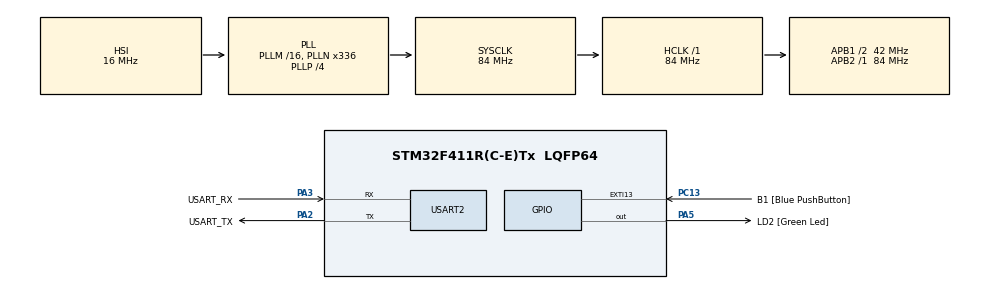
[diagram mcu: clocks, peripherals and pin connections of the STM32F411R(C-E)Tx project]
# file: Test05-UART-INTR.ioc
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Mcu.Family=STM32F4
Mcu.Name=STM32F411R(C-E)Tx
Mcu.Package=LQFP64
NVIC.EXTI15_10_IRQn=true\:0\:0\:false\:false\:true\:true\:true\:true
NVIC.PriorityGroup=NVIC_PRIORITYGROUP_0
NVIC.USART2_IRQn=true\:0\:0\:false\:false\:true\:true\:true\:true
PA13.GPIO_Label=TMS
PA13.Mode=Serial_Wire
PA13.Signal=SYS_JTMS-SWDIO
PA14.GPIO_Label=TCK
PA14.Mode=Serial_Wire
PA14.Signal=SYS_JTCK-SWCLK
PA2.GPIO_Label=USART_TX
PA2.Mode=Asynchronous
PA2.Signal=USART2_TX
PA3.GPIO_Label=USART_RX
PA3.Mode=Asynchronous
PA3.Signal=USART2_RX
PA5.GPIO_Label=LD2 [Green Led]
PA5.Signal=GPIO_Output
PB3.GPIO_Label=SWO
PB3.Signal=SYS_JTDO-SWO
PC13-ANTI_TAMP.GPIO_Label=B1 [Blue PushButton]
PC13-ANTI_TAMP.GPIO_ModeDefaultEXTI=GPIO_MODE_IT_FALLING
PC13-ANTI_TAMP.Signal=GPXTI13
PC14-OSC32_IN.Mode=LSE-External-Oscillator
PC14-OSC32_IN.Signal=RCC_OSC32_IN
PC15-OSC32_OUT.Mode=LSE-External-Oscillator
PC15-OSC32_OUT.Signal=RCC_OSC32_OUT
PH0\ -\ OSC_IN.Mode=HSE-External-Clock-Source
PH0\ -\ OSC_IN.Signal=RCC_OSC_IN
PH1\ -\ OSC_OUT.Mode=HSE-External-Clock-Source
PH1\ -\ OSC_OUT.Signal=RCC_OSC_OUT
ProjectManager.HeapSize=0x200
ProjectManager.StackSize=0x400
ProjectManager.TargetToolchain=STM32CubeIDE
RCC.48MHZClocksFreq_Value=84000000
RCC.AHBFreq_Value=84000000
RCC.APB1CLKDivider=RCC_HCLK_DIV2
RCC.APB1Freq_Value=42000000
RCC.APB1TimFreq_Value=84000000
RCC.APB2Freq_Value=84000000
RCC.APB2TimFreq_Value=84000000
RCC.CortexFreq_Value=84000000
RCC.FLatency-AdvancedSettings=FLASH_LATENCY_2
RCC.HCLKFreq_Value=84000000
RCC.HSE_VALUE=8000000
RCC.HSI_VALUE=16000000
RCC.PLLN=336
RCC.PLLP=RCC_PLLP_DIV4
RCC.SYSCLKFreq_VALUE=84000000
RCC.SYSCLKSource=RCC_SYSCLKSOURCE_PLLCLK
RCC.VCOOutputFreq_Value=336000000
USART2.VirtualMode=VM_ASYNC
board=NUCLEO-F411RE

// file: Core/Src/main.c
/* USER CODE BEGIN Header */
/**
  ******************************************************************************
  * @file           : main.c
  * @brief          : Main program body
  ******************************************************************************
  * @attention
  *
  * Copyright (c) 2023 STMicroelectronics.
  * All rights reserved.
  *
  * This software is licensed under terms that can be found in the LICENSE file
  * in the root directory of this software component.
  * If no LICENSE file comes with this software, it is provided AS-IS.
  *
  ******************************************************************************
  */
/* USER CODE END Header */
#include "main.h"

UART_HandleTypeDef huart2;

/* USER CODE BEGIN PV */
#include "..\\..\\..\\Lib\\MyLib.c"

/* USER CODE END PV */

void SystemClock_Config(void);
static void MX_GPIO_Init(void);
static void MX_USART2_UART_Init(void);

/* USER CODE BEGIN 0 */
#define  MAX_BUF  100
char buf[MAX_BUF];  // Received Buffer
char rx[1];			// Temp buffer
volatile int head = 0, tail = 0;

int GetDMAData(char *bb)
{
	int ret = 0;
	if(head == tail) ret = 0;	// no data
	else if(head < tail) 		// normal case
	{
		memcpy(bb, buf + head, tail - head); ret = tail - head;
	}
	else // reverse (head > tail) : circula type action
	{
		memcpy(bb, buf + head, MAX_BUF - head);
		memcpy(bb + MAX_BUF - head, buf, tail);
		ret = MAX_BUF - head + tail;
	}
	head = tail;
	return ret;
}

void HAL_UART_RxCpltCallback(UART_HandleTypeDef *huart)
{
	buf[tail++] = rx[0];
	if(tail >= MAX_BUF) tail = 0;
	HAL_UART_Receive_IT(&huart2, rx, 1);
}

void HAL_GPIO_EXTI_Callback(uint16_t GPIO_Pin)
{
	char bb[100];
	if(GPIO_Pin == B1_Pin)
	{
		printf("[DMA_BUF]%s\r\n", buf);
		int n = GetDMAData(bb);
		if(n)
		{
			bb[n] = 0;  // insert null
			printf("[Receive]%s\r\n", bb);
		}
	}
}

/* USER CODE END 0 */

int main(void)
{

  /* MCU Configuration--------------------------------------------------------*/

  /* Reset of all peripherals, Initializes the Flash interface and the Systick. */
  HAL_Init();

  /* Configure the system clock */
  SystemClock_Config();

  /* Initialize all configured peripherals */
  MX_GPIO_Init();
  MX_USART2_UART_Init();
  /* USER CODE BEGIN 2 */
  HAL_UART_Receive_IT(&huart2, rx, 1);
  /* USER CODE END 2 */

  /* Infinite loop */
  while (1)
  {

  }
}

void SystemClock_Config(void)
{
  RCC_OscInitTypeDef RCC_OscInitStruct = {0};
  RCC_ClkInitTypeDef RCC_ClkInitStruct = {0};

  /** Configure the main internal regulator output voltage
  */
  __HAL_RCC_PWR_CLK_ENABLE();
  __HAL_PWR_VOLTAGESCALING_CONFIG(PWR_REGULATOR_VOLTAGE_SCALE1);

  /** Initializes the RCC Oscillators according to the specified parameters
  * in the RCC_OscInitTypeDef structure.
  */
  RCC_OscInitStruct.OscillatorType = RCC_OSCILLATORTYPE_HSI;
  RCC_OscInitStruct.HSIState = RCC_HSI_ON;
  RCC_OscInitStruct.HSICalibrationValue = RCC_HSICALIBRATION_DEFAULT;
  RCC_OscInitStruct.PLL.PLLState = RCC_PLL_ON;
  RCC_OscInitStruct.PLL.PLLSource = RCC_PLLSOURCE_HSI;
  RCC_OscInitStruct.PLL.PLLM = 16;
  RCC_OscInitStruct.PLL.PLLN = 336;
  RCC_OscInitStruct.PLL.PLLP = RCC_PLLP_DIV4;
  RCC_OscInitStruct.PLL.PLLQ = 4;
  if (HAL_RCC_OscConfig(&RCC_OscInitStruct) != HAL_OK)
  {
    Error_Handler();
  }

  /** Initializes the CPU, AHB and APB buses clocks
  */
  RCC_ClkInitStruct.ClockType = RCC_CLOCKTYPE_HCLK|RCC_CLOCKTYPE_SYSCLK
                              |RCC_CLOCKTYPE_PCLK1|RCC_CLOCKTYPE_PCLK2;
  RCC_ClkInitStruct.SYSCLKSource = RCC_SYSCLKSOURCE_PLLCLK;
  RCC_ClkInitStruct.AHBCLKDivider = RCC_SYSCLK_DIV1;
  RCC_ClkInitStruct.APB1CLKDivider = RCC_HCLK_DIV2;
  RCC_ClkInitStruct.APB2CLKDivider = RCC_HCLK_DIV1;

  if (HAL_RCC_ClockConfig(&RCC_ClkInitStruct, FLASH_LATENCY_2) != HAL_OK)
  {
    Error_Handler();
  }
}

static void MX_USART2_UART_Init(void)
{

  huart2.Instance = USART2;
  huart2.Init.BaudRate = 115200;
  huart2.Init.WordLength = UART_WORDLENGTH_8B;
  huart2.Init.StopBits = UART_STOPBITS_1;
  huart2.Init.Parity = UART_PARITY_NONE;
  huart2.Init.Mode = UART_MODE_TX_RX;
  huart2.Init.HwFlowCtl = UART_HWCONTROL_NONE;
  huart2.Init.OverSampling = UART_OVERSAMPLING_16;
  if (HAL_UART_Init(&huart2) != HAL_OK)
  {
    Error_Handler();
  }

}

static void MX_GPIO_Init(void)
{
  GPIO_InitTypeDef GPIO_InitStruct = {0};

  /* GPIO Ports Clock Enable */
  __HAL_RCC_GPIOC_CLK_ENABLE();
  __HAL_RCC_GPIOH_CLK_ENABLE();
  __HAL_RCC_GPIOA_CLK_ENABLE();
  __HAL_RCC_GPIOB_CLK_ENABLE();

  /*Configure GPIO pin Output Level */
  HAL_GPIO_WritePin(LD2_GPIO_Port, LD2_Pin, GPIO_PIN_RESET);

  /*Configure GPIO pin : B1_Pin */
  GPIO_InitStruct.Pin = B1_Pin;
  GPIO_InitStruct.Mode = GPIO_MODE_IT_FALLING;
  GPIO_InitStruct.Pull = GPIO_NOPULL;
  HAL_GPIO_Init(B1_GPIO_Port, &GPIO_InitStruct);

  /*Configure GPIO pin : LD2_Pin */
  GPIO_InitStruct.Pin = LD2_Pin;
  GPIO_InitStruct.Mode = GPIO_MODE_OUTPUT_PP;
  GPIO_InitStruct.Pull = GPIO_NOPULL;
  GPIO_InitStruct.Speed = GPIO_SPEED_FREQ_LOW;
  HAL_GPIO_Init(LD2_GPIO_Port, &GPIO_InitStruct);

  /* EXTI interrupt init*/
  HAL_NVIC_SetPriority(EXTI15_10_IRQn, 0, 0);
  HAL_NVIC_EnableIRQ(EXTI15_10_IRQn);

}

void Error_Handler(void)
{
  __disable_irq();
  while (1)
  {
  }
}
